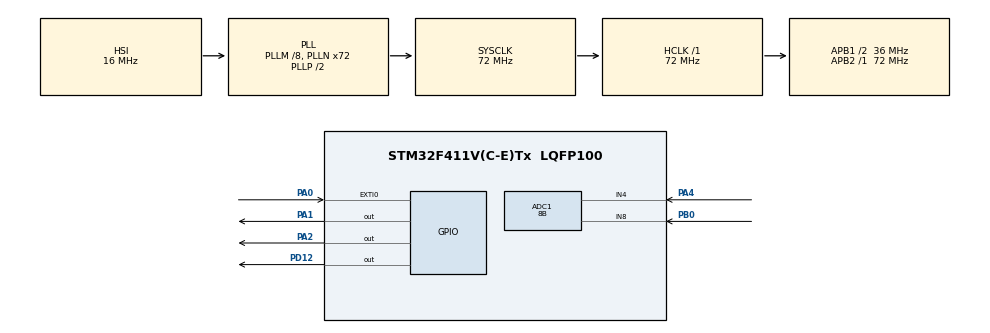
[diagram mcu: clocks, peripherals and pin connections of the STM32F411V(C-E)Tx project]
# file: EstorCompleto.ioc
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ADC1.Channel-0\#ChannelRegularConversion=ADC_CHANNEL_4
ADC1.Channel-1\#ChannelRegularConversion=ADC_CHANNEL_8
ADC1.ContinuousConvMode=ENABLE
ADC1.DMAContinuousRequests=ENABLE
ADC1.NbrOfConversion=2
ADC1.NbrOfConversionFlag=1
ADC1.Rank-0\#ChannelRegularConversion=1
ADC1.Rank-1\#ChannelRegularConversion=2
ADC1.Resolution=ADC_RESOLUTION_8B
ADC1.SamplingTime-0\#ChannelRegularConversion=ADC_SAMPLETIME_480CYCLES
ADC1.SamplingTime-1\#ChannelRegularConversion=ADC_SAMPLETIME_480CYCLES
ADC1.ScanConvMode=ENABLE
ADC1.master=1
Dma.ADC1.0.Direction=DMA_PERIPH_TO_MEMORY
Dma.ADC1.0.FIFOMode=DMA_FIFOMODE_DISABLE
Dma.ADC1.0.Instance=DMA2_Stream0
Dma.ADC1.0.MemDataAlignment=DMA_MDATAALIGN_WORD
Dma.ADC1.0.MemInc=DMA_MINC_ENABLE
Dma.ADC1.0.Mode=DMA_CIRCULAR
Dma.ADC1.0.PeriphDataAlignment=DMA_PDATAALIGN_WORD
Dma.ADC1.0.PeriphInc=DMA_PINC_DISABLE
Dma.ADC1.0.Priority=DMA_PRIORITY_LOW
Dma.Request0=ADC1
Mcu.Family=STM32F4
Mcu.Name=STM32F411V(C-E)Tx
Mcu.Package=LQFP100
NVIC.ADC_IRQn=true\:0\:0\:false\:false\:true\:true\:true\:true
NVIC.DMA2_Stream0_IRQn=true\:0\:0\:false\:false\:true\:false\:true\:true
NVIC.EXTI0_IRQn=true\:0\:0\:false\:false\:true\:true\:true\:true
NVIC.PriorityGroup=NVIC_PRIORITYGROUP_0
NVIC.TIM1_BRK_TIM9_IRQn=true\:0\:0\:false\:false\:true\:true\:true\:true
NVIC.TIM1_CC_IRQn=true\:0\:0\:false\:false\:true\:true\:true\:true
NVIC.TIM1_TRG_COM_TIM11_IRQn=true\:0\:0\:false\:false\:true\:true\:true\:true
NVIC.TIM1_UP_TIM10_IRQn=true\:0\:0\:false\:false\:true\:true\:true\:true
PA0-WKUP.Signal=GPXTI0
PA1.Signal=GPIO_Output
PA2.Signal=GPIO_Output
PA4.Signal=ADCx_IN4
PB0.Signal=ADCx_IN8
PD12.Signal=GPIO_Output
PH0\ -\ OSC_IN.Mode=HSE-External-Oscillator
PH0\ -\ OSC_IN.Signal=RCC_OSC_IN
PH1\ -\ OSC_OUT.Mode=HSE-External-Oscillator
PH1\ -\ OSC_OUT.Signal=RCC_OSC_OUT
ProjectManager.HeapSize=0x200
ProjectManager.StackSize=0x400
ProjectManager.TargetToolchain=STM32CubeIDE
RCC.48MHZClocksFreq_Value=18000000
RCC.AHBFreq_Value=72000000
RCC.APB1CLKDivider=RCC_HCLK_DIV2
RCC.APB1Freq_Value=36000000
RCC.APB1TimFreq_Value=72000000
RCC.APB2Freq_Value=72000000
RCC.APB2TimFreq_Value=72000000
RCC.CortexFreq_Value=72000000
RCC.HCLKFreq_Value=72000000
RCC.HSE_VALUE=8000000
RCC.HSI_VALUE=16000000
RCC.LSE_VALUE=32768
RCC.PLLI2SM=5
RCC.PLLI2SN=200
RCC.PLLM=8
RCC.PLLN=72
RCC.PLLQ=8
RCC.SYSCLKFreq_VALUE=72000000
RCC.SYSCLKSource=RCC_SYSCLKSOURCE_PLLCLK
RCC.VCOOutputFreq_Value=144000000
SH.ADCx_IN4.0=ADC1_IN4,IN4
SH.ADCx_IN8.0=ADC1_IN8,IN8
TIM1.Period=10000
TIM1.Prescaler=36
VP_TIM1_VS_ClockSourceINT.Mode=Internal
board=STM32F411E-DISCO

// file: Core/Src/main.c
/* USER CODE BEGIN Header */
/**
  ******************************************************************************
  * @file           : main.c
  * @brief          : Main program body
  ******************************************************************************
  * @attention
  *
  * Copyright (c) 2023 STMicroelectronics.
  * All rights reserved.
  *
  * This software is licensed under terms that can be found in the LICENSE file
  * in the root directory of this software component.
  * If no LICENSE file comes with this software, it is provided AS-IS.
  *
  ******************************************************************************
  */
/* USER CODE END Header */
#include "main.h"

ADC_HandleTypeDef hadc1;
DMA_HandleTypeDef hdma_adc1;

TIM_HandleTypeDef htim1;

void SystemClock_Config(void);
static void MX_GPIO_Init(void);
static void MX_DMA_Init(void);
static void MX_ADC1_Init(void);
static void MX_TIM1_Init(void);

/* USER CODE BEGIN 0 */
#define DIR_PIN GPIO_PIN_1
#define DIR_PORT GPIOA
#define STEP_PIN GPIO_PIN_2
#define STEP_PORT GPIOA
#define BUTTON_PIN GPIO_PIN_0
#define BUTTON_PORT GPIOA
#define LED_PIN GPIO_PIN_12
#define LED_PORT GPIOD

int32_t ADC_luz;
int32_t ADC_potenciometro;

uint16_t y_recogido = 0; //posicion inicial
uint16_t y_extendido = 510; //maxima extension del estor
uint16_t max_potenciometro = 255;

volatile uint16_t y = 0;
volatile uint16_t posicion = 0;

volatile int button_int = 0;
volatile char button_state = 1;
volatile char elapsed = 0;

uint32_t adcvalue[2], adcbuffer[2];

//Se ha tratado de usar TIM 3

/*void microDelay (uint16_t delay)
{
  //__HAL_TIM_SET_COUNTER(&htim3, 0);
  //while ((uint16_t)__HAL_TIM_GET_COUNTER(&htim3) < delay);
  elapsed = 0;
  HAL_TIM_Base_Start_IT(&htim3);
  while (elapsed == 0);
}*/

void step (int step, uint8_t direccion, uint16_t delay)
{
  int x;
  if (direccion == 0)
    HAL_GPIO_WritePin(DIR_PORT, DIR_PIN, GPIO_PIN_SET);
  else
    HAL_GPIO_WritePin(DIR_PORT, DIR_PIN, GPIO_PIN_RESET);
  for(x=0; x<step; x=x+1)
  {
    HAL_GPIO_WritePin(STEP_PORT, STEP_PIN, GPIO_PIN_SET);
    //microDelay(delay);
    HAL_Delay(delay);
    HAL_GPIO_WritePin(STEP_PORT, STEP_PIN, GPIO_PIN_RESET);
    //microDelay(delay);
    HAL_Delay(delay);
  }
}

int getPotenciometro(uint16_t pot){
	int altura, tramo;
	altura = (pot * y_extendido) / max_potenciometro ;
	tramo = altura/51; //tramos de 17
	altura = tramo * 51;
	return altura;
}

void HAL_ADC_ConvCpltCallback (ADC_HandleTypeDef * hadc){

	if (hadc->Instance == ADC1){
		adcvalue[0]=adcbuffer[0];
		adcvalue[1]=adcbuffer[1];
  	  	ADC_luz = adcvalue[0];
  	  	ADC_potenciometro = adcvalue[1];
  	  	y = getPotenciometro(ADC_potenciometro);
	}
}

void HAL_GPIO_EXTI_Callback(uint16_t GPIO_Pin){
		if(GPIO_Pin == BUTTON_PIN && button_state == 1){
			HAL_TIM_Base_Start_IT(&htim1);
			button_state = 0;
		}
}

void HAL_TIM_PeriodElapsedCallback(TIM_HandleTypeDef *htim)
{
	if(htim->Instance==TIM1){
		if(HAL_GPIO_ReadPin(BUTTON_PORT, BUTTON_PIN) == GPIO_PIN_RESET){
			HAL_GPIO_TogglePin(LED_PORT, LED_PIN);
			button_state = 1;
			button_int++;
			HAL_TIM_Base_Stop_IT(&htim1);
		}
	}
	/*if(htim->Instance==TIM3){
		HAL_TIM_Base_Stop_IT(&htim3);
		elapsed = 1;
	}*/
}
/* USER CODE END 0 */

int main(void)
{

  /* MCU Configuration--------------------------------------------------------*/

  /* Reset of all peripherals, Initializes the Flash interface and the Systick. */
  HAL_Init();

  /* Configure the system clock */
  SystemClock_Config();

  /* Initialize all configured peripherals */
  MX_GPIO_Init();
  MX_DMA_Init();
  MX_ADC1_Init();
  MX_TIM1_Init();
  /* USER CODE BEGIN 2 */
  HAL_ADC_Start_DMA(&hadc1, adcbuffer, 2);
  /* USER CODE END 2 */

  /* Infinite loop */
  /* USER CODE BEGIN WHILE */
  while (1)
  {
	  if (button_int % 2 == 0){
		  if (ADC_luz > 70){
		  	  	  		while (posicion < y_extendido){
		  	  	  			step(1, 0, 1); // 1 paso horario
		  	  	  			//HAL_Delay(10);
		  	  	  			posicion ++;
		  	  	  		}
		  	  	  	}
		  else if (ADC_luz < 50) {
		  	  	  		while (posicion > y_recogido){
		  	  	  			step(1, 1, 1); // 1 paso antihorario
		  	  	  			//HAL_Delay(10);
		  	  	  			posicion --;
		  	  	  		}
		  }
	  }
	  else if (button_int % 2 == 1){
		  	  if (y > posicion) {
		  		  while (posicion < y) {
		  			  step(1, 0, 1); // 1 paso horario
		  			  //HAL_Delay(10);
		  			  posicion++;
		  		  }
		  	  }
		  	  else if (y < posicion) {
		  		  while (posicion > y) {
		  			  step(1, 1, 1); // 1 paso antihorario
		  			  //HAL_Delay(10);
		  			  posicion--;
		  		  }
		  	  }
	  }

    /* USER CODE END WHILE */

  }
}

void SystemClock_Config(void)
{
  RCC_OscInitTypeDef RCC_OscInitStruct = {0};
  RCC_ClkInitTypeDef RCC_ClkInitStruct = {0};

  /** Configure the main internal regulator output voltage
  */
  __HAL_RCC_PWR_CLK_ENABLE();
  __HAL_PWR_VOLTAGESCALING_CONFIG(PWR_REGULATOR_VOLTAGE_SCALE1);

  /** Initializes the RCC Oscillators according to the specified parameters
  * in the RCC_OscInitTypeDef structure.
  */
  RCC_OscInitStruct.OscillatorType = RCC_OSCILLATORTYPE_HSI;
  RCC_OscInitStruct.HSIState = RCC_HSI_ON;
  RCC_OscInitStruct.HSICalibrationValue = RCC_HSICALIBRATION_DEFAULT;
  RCC_OscInitStruct.PLL.PLLState = RCC_PLL_ON;
  RCC_OscInitStruct.PLL.PLLSource = RCC_PLLSOURCE_HSI;
  RCC_OscInitStruct.PLL.PLLM = 8;
  RCC_OscInitStruct.PLL.PLLN = 72;
  RCC_OscInitStruct.PLL.PLLP = RCC_PLLP_DIV2;
  RCC_OscInitStruct.PLL.PLLQ = 8;
  if (HAL_RCC_OscConfig(&RCC_OscInitStruct) != HAL_OK)
  {
    Error_Handler();
  }

  /** Initializes the CPU, AHB and APB buses clocks
  */
  RCC_ClkInitStruct.ClockType = RCC_CLOCKTYPE_HCLK|RCC_CLOCKTYPE_SYSCLK
                              |RCC_CLOCKTYPE_PCLK1|RCC_CLOCKTYPE_PCLK2;
  RCC_ClkInitStruct.SYSCLKSource = RCC_SYSCLKSOURCE_PLLCLK;
  RCC_ClkInitStruct.AHBCLKDivider = RCC_SYSCLK_DIV1;
  RCC_ClkInitStruct.APB1CLKDivider = RCC_HCLK_DIV2;
  RCC_ClkInitStruct.APB2CLKDivider = RCC_HCLK_DIV1;

  if (HAL_RCC_ClockConfig(&RCC_ClkInitStruct, FLASH_LATENCY_2) != HAL_OK)
  {
    Error_Handler();
  }
}

static void MX_ADC1_Init(void)
{

  ADC_ChannelConfTypeDef sConfig = {0};

  /** Configure the global features of the ADC (Clock, Resolution, Data Alignment and number of conversion)
  */
  hadc1.Instance = ADC1;
  hadc1.Init.ClockPrescaler = ADC_CLOCK_SYNC_PCLK_DIV2;
  hadc1.Init.Resolution = ADC_RESOLUTION_8B;
  hadc1.Init.ScanConvMode = ENABLE;
  hadc1.Init.ContinuousConvMode = ENABLE;
  hadc1.Init.DiscontinuousConvMode = DISABLE;
  hadc1.Init.ExternalTrigConvEdge = ADC_EXTERNALTRIGCONVEDGE_NONE;
  hadc1.Init.ExternalTrigConv = ADC_SOFTWARE_START;
  hadc1.Init.DataAlign = ADC_DATAALIGN_RIGHT;
  hadc1.Init.NbrOfConversion = 2;
  hadc1.Init.DMAContinuousRequests = ENABLE;
  hadc1.Init.EOCSelection = ADC_EOC_SINGLE_CONV;
  if (HAL_ADC_Init(&hadc1) != HAL_OK)
  {
    Error_Handler();
  }

  /** Configure for the selected ADC regular channel its corresponding rank in the sequencer and its sample time.
  */
  sConfig.Channel = ADC_CHANNEL_4;
  sConfig.Rank = 1;
  sConfig.SamplingTime = ADC_SAMPLETIME_480CYCLES;
  if (HAL_ADC_ConfigChannel(&hadc1, &sConfig) != HAL_OK)
  {
    Error_Handler();
  }

  /** Configure for the selected ADC regular channel its corresponding rank in the sequencer and its sample time.
  */
  sConfig.Channel = ADC_CHANNEL_8;
  sConfig.Rank = 2;
  if (HAL_ADC_ConfigChannel(&hadc1, &sConfig) != HAL_OK)
  {
    Error_Handler();
  }
  /* USER CODE BEGIN ADC1_Init 2 */
  //HAL_ADC_Start_DMA(&hadc1, adcbuffer, 2);
  /* USER CODE END ADC1_Init 2 */

}

static void MX_TIM1_Init(void)
{

  TIM_ClockConfigTypeDef sClockSourceConfig = {0};
  TIM_MasterConfigTypeDef sMasterConfig = {0};

  htim1.Instance = TIM1;
  htim1.Init.Prescaler = 36;
  htim1.Init.CounterMode = TIM_COUNTERMODE_UP;
  htim1.Init.Period = 10000;
  htim1.Init.ClockDivision = TIM_CLOCKDIVISION_DIV1;
  htim1.Init.RepetitionCounter = 0;
  htim1.Init.AutoReloadPreload = TIM_AUTORELOAD_PRELOAD_DISABLE;
  if (HAL_TIM_Base_Init(&htim1) != HAL_OK)
  {
    Error_Handler();
  }
  sClockSourceConfig.ClockSource = TIM_CLOCKSOURCE_INTERNAL;
  if (HAL_TIM_ConfigClockSource(&htim1, &sClockSourceConfig) != HAL_OK)
  {
    Error_Handler();
  }
  sMasterConfig.MasterOutputTrigger = TIM_TRGO_RESET;
  sMasterConfig.MasterSlaveMode = TIM_MASTERSLAVEMODE_DISABLE;
  if (HAL_TIMEx_MasterConfigSynchronization(&htim1, &sMasterConfig) != HAL_OK)
  {
    Error_Handler();
  }

}

static void MX_DMA_Init(void)
{

  /* DMA controller clock enable */
  __HAL_RCC_DMA2_CLK_ENABLE();

  /* DMA interrupt init */
  /* DMA2_Stream0_IRQn interrupt configuration */
  HAL_NVIC_SetPriority(DMA2_Stream0_IRQn, 0, 0);
  HAL_NVIC_EnableIRQ(DMA2_Stream0_IRQn);

}

static void MX_GPIO_Init(void)
{
  GPIO_InitTypeDef GPIO_InitStruct = {0};

  /* GPIO Ports Clock Enable */
  __HAL_RCC_GPIOH_CLK_ENABLE();
  __HAL_RCC_GPIOA_CLK_ENABLE();
  __HAL_RCC_GPIOB_CLK_ENABLE();
  __HAL_RCC_GPIOD_CLK_ENABLE();

  /*Configure GPIO pin Output Level */
  HAL_GPIO_WritePin(GPIOA, GPIO_PIN_1|GPIO_PIN_2, GPIO_PIN_RESET);

  /*Configure GPIO pin Output Level */
  HAL_GPIO_WritePin(GPIOD, GPIO_PIN_12, GPIO_PIN_RESET);

  /*Configure GPIO pin : PA0 */
  GPIO_InitStruct.Pin = GPIO_PIN_0;
  GPIO_InitStruct.Mode = GPIO_MODE_IT_RISING;
  GPIO_InitStruct.Pull = GPIO_NOPULL;
  HAL_GPIO_Init(GPIOA, &GPIO_InitStruct);

  /*Configure GPIO pins : PA1 PA2 */
  GPIO_InitStruct.Pin = GPIO_PIN_1|GPIO_PIN_2;
  GPIO_InitStruct.Mode = GPIO_MODE_OUTPUT_PP;
  GPIO_InitStruct.Pull = GPIO_NOPULL;
  GPIO_InitStruct.Speed = GPIO_SPEED_FREQ_LOW;
  HAL_GPIO_Init(GPIOA, &GPIO_InitStruct);

  /*Configure GPIO pin : PD12 */
  GPIO_InitStruct.Pin = GPIO_PIN_12;
  GPIO_InitStruct.Mode = GPIO_MODE_OUTPUT_PP;
  GPIO_InitStruct.Pull = GPIO_NOPULL;
  GPIO_InitStruct.Speed = GPIO_SPEED_FREQ_LOW;
  HAL_GPIO_Init(GPIOD, &GPIO_InitStruct);

  /* EXTI interrupt init*/
  HAL_NVIC_SetPriority(EXTI0_IRQn, 0, 0);
  HAL_NVIC_EnableIRQ(EXTI0_IRQn);

}

void Error_Handler(void)
{
  __disable_irq();
  while (1)
  {
  }
}
